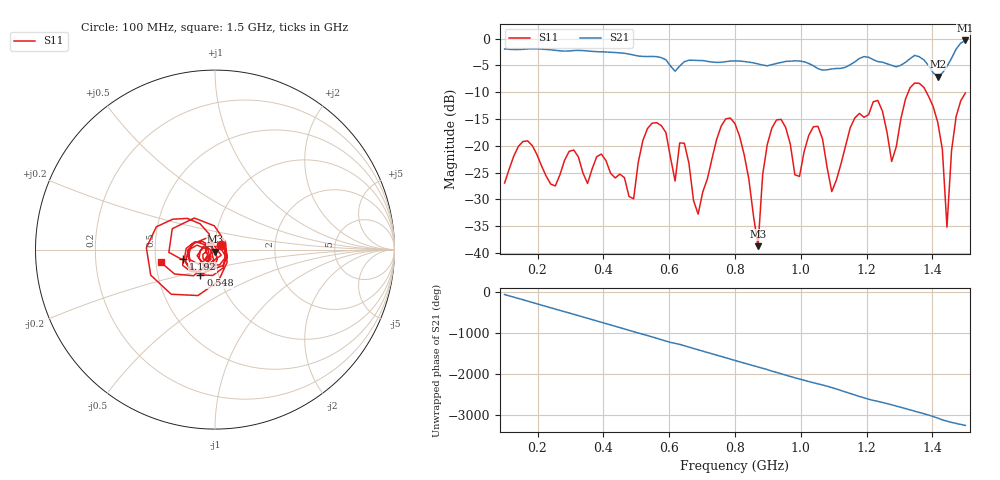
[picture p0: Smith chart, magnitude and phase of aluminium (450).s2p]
! NanoVNA-App
! Date: 2025-09-25 14:58:47
! Start: 100MHz Stop: 1,5GHz Points: 101
! S-Parameter data: F S11 S21 S12 S22
# Hz S RI R 50
!  Frequency  S11_Real  S11_Imag  S21_Real  S21_Imag  S12_Real  S12_Imag  S22_Real  S22_Imag
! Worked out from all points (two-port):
!   101 points, 100 MHz to 1.5 GHz, reference 50 ohm
!   highest |S21| = -0.33 dB at 1.5 GHz (marker M1); lowest = -7.1 dB at 1.416 GHz (marker M2)
!   |S21| within 3 dB of the highest: start of sweep to 553.8 MHz; 1.461 GHz to end of sweep (the widest 2 of 3)
!   lowest |S11| = -38.8 dB at 870 MHz (marker M3), VSWR 1.02, Z = 50.2 - j1.14 ohm
!   |S11| at or under -10 dB: start of sweep to 1.326 GHz; 1.382 GHz to end of sweep
!   S12 and S22 are empty: the file has one direction only
!   S11 on the Smith chart (normalised r, x): 100 MHz: 1.07, +0.06; 548 MHz: 0.82, -0.24; 1.192 GHz: 0.70, -0.07; 1.5 GHz: 0.53, -0.08
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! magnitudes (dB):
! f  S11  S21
! 100 MHz  -27.0  -1.9
! 156 MHz  -19.2  -2.0
! 338 MHz  -25.1  -2.2
! 492 MHz  -29.9  -3.1
! 548 MHz  -15.8  -3.3
! 576 MHz  -16.2  -3.5
! 646 MHz  -19.5  -4.3
! 688 MHz  -32.8  -4.1
! 800 MHz  -15.9  -4.2
! 870 MHz  -38.8  -4.7
! 912 MHz  -16.7  -4.9
! 996 MHz  -25.7  -4.2
! 1.038 GHz  -16.5  -5.1
! 1.094 GHz  -28.6  -5.7
! 1.192 GHz  -14.7  -3.3
! 1.234 GHz  -11.5  -4.3
! 1.276 GHz  -22.9  -5.0
! 1.346 GHz  -8.3  -3.1
! 1.416 GHz  -15.6  -7.1
! 1.444 GHz  -35.2  -5.2
! 1.472 GHz  -14.5  -1.9
! 1.5 GHz  -10.2  -0.3
